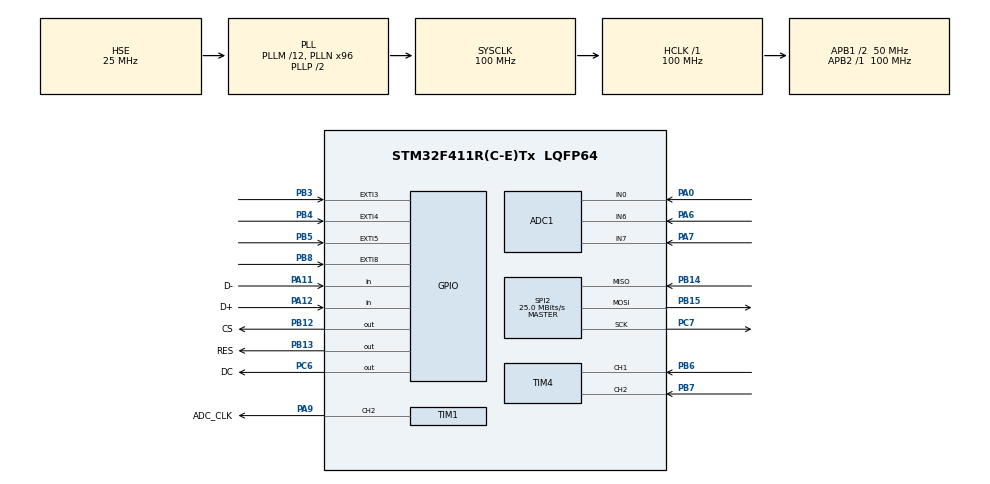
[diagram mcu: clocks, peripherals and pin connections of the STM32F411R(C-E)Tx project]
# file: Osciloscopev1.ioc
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ADC1.Channel-3\#ChannelRegularConversion=ADC_CHANNEL_6
ADC1.Channel-4\#ChannelInjectedConversion=ADC_CHANNEL_0
ADC1.DMAContinuousRequests=ENABLE
ADC1.ExternalTrigConv=ADC_EXTERNALTRIGCONV_T2_TRGO
ADC1.InjNumberOfConversion=1
ADC1.InjectedOffset-4\#ChannelInjectedConversion=0
ADC1.InjectedRank-4\#ChannelInjectedConversion=1
ADC1.NbrOfConversionFlag=1
ADC1.Rank-3\#ChannelRegularConversion=1
ADC1.SamplingTime-3\#ChannelRegularConversion=ADC_SAMPLETIME_3CYCLES
ADC1.SamplingTime-4\#ChannelInjectedConversion=ADC_SAMPLETIME_480CYCLES
ADC1.master=1
ARM.CMSIS.5.9.0.CMSISJjCORE=true
ARM.CMSIS.5.9.0.CMSISJjDSP=Source
Dma.ADC1.1.Direction=DMA_PERIPH_TO_MEMORY
Dma.ADC1.1.FIFOMode=DMA_FIFOMODE_DISABLE
Dma.ADC1.1.Instance=DMA2_Stream0
Dma.ADC1.1.MemDataAlignment=DMA_MDATAALIGN_HALFWORD
Dma.ADC1.1.MemInc=DMA_MINC_ENABLE
Dma.ADC1.1.Mode=DMA_CIRCULAR
Dma.ADC1.1.PeriphDataAlignment=DMA_PDATAALIGN_HALFWORD
Dma.ADC1.1.PeriphInc=DMA_PINC_DISABLE
Dma.ADC1.1.Priority=DMA_PRIORITY_VERY_HIGH
Dma.Request0=TIM1_CH2
Dma.Request1=ADC1
Dma.TIM1_CH2.0.Direction=DMA_PERIPH_TO_MEMORY
Dma.TIM1_CH2.0.FIFOMode=DMA_FIFOMODE_DISABLE
Dma.TIM1_CH2.0.Instance=DMA2_Stream2
Dma.TIM1_CH2.0.MemDataAlignment=DMA_MDATAALIGN_BYTE
Dma.TIM1_CH2.0.MemInc=DMA_MINC_ENABLE
Dma.TIM1_CH2.0.Mode=DMA_CIRCULAR
Dma.TIM1_CH2.0.PeriphDataAlignment=DMA_PDATAALIGN_BYTE
Dma.TIM1_CH2.0.PeriphInc=DMA_PINC_DISABLE
Dma.TIM1_CH2.0.Priority=DMA_PRIORITY_VERY_HIGH
Mcu.Family=STM32F4
Mcu.Name=STM32F411R(C-E)Tx
Mcu.Package=LQFP64
NVIC.DMA2_Stream0_IRQn=true\:0\:0\:false\:false\:true\:false\:true\:true
NVIC.DMA2_Stream2_IRQn=true\:0\:0\:false\:false\:true\:false\:true\:true
NVIC.EXTI3_IRQn=true\:0\:0\:false\:false\:true\:true\:true\:true
NVIC.EXTI4_IRQn=true\:0\:0\:false\:false\:true\:true\:true\:true
NVIC.EXTI9_5_IRQn=true\:0\:0\:false\:false\:true\:true\:true\:true
NVIC.PriorityGroup=NVIC_PRIORITYGROUP_4
NVIC.TIM1_UP_TIM10_IRQn=true\:0\:0\:false\:false\:true\:true\:true\:true
PA0-WKUP.Signal=ADCx_IN0
PA11.GPIO_Label=D-
PA11.Signal=GPIO_Input
PA12.GPIO_Label=D+
PA12.Signal=GPIO_Input
PA13.Mode=Serial_Wire
PA13.Signal=SYS_JTMS-SWDIO
PA14.Mode=Serial_Wire
PA14.Signal=SYS_JTCK-SWCLK
PA6.Signal=ADCx_IN6
PA7.Signal=ADCx_IN7
PA9.GPIO_Label=ADC_CLK
PA9.Signal=S_TIM1_CH2
PB12.GPIO_Label=CS
PB12.Signal=GPIO_Output
PB13.GPIO_Label=RES
PB13.Signal=GPIO_Output
PB14.Mode=Full_Duplex_Master
PB14.Signal=SPI2_MISO
PB15.Mode=Full_Duplex_Master
PB15.Signal=SPI2_MOSI
PB3.GPIO_ModeDefaultEXTI=GPIO_MODE_IT_FALLING
PB3.Signal=GPXTI3
PB4.GPIO_ModeDefaultEXTI=GPIO_MODE_IT_FALLING
PB4.Signal=GPXTI4
PB5.GPIO_ModeDefaultEXTI=GPIO_MODE_IT_FALLING
PB5.Signal=GPXTI5
PB6.Signal=S_TIM4_CH1
PB7.Signal=S_TIM4_CH2
PB8.GPIO_ModeDefaultEXTI=GPIO_MODE_IT_FALLING
PB8.Signal=GPXTI8
PC6.GPIO_Label=DC
PC6.Signal=GPIO_Output
PC7.Mode=Full_Duplex_Master
PC7.Signal=SPI2_SCK
PH0\ -\ OSC_IN.Mode=HSE-External-Oscillator
PH0\ -\ OSC_IN.Signal=RCC_OSC_IN
PH1\ -\ OSC_OUT.Mode=HSE-External-Oscillator
PH1\ -\ OSC_OUT.Signal=RCC_OSC_OUT
ProjectManager.HeapSize=0x200
ProjectManager.StackSize=0x400
ProjectManager.TargetToolchain=STM32CubeIDE
RCC.48MHZClocksFreq_Value=50000000
RCC.AHBFreq_Value=100000000
RCC.APB1CLKDivider=RCC_HCLK_DIV2
RCC.APB1Freq_Value=50000000
RCC.APB1TimFreq_Value=100000000
RCC.APB2Freq_Value=100000000
RCC.APB2TimFreq_Value=100000000
RCC.CortexFreq_Value=100000000
RCC.HCLKFreq_Value=100000000
RCC.HSE_VALUE=25000000
RCC.HSI_VALUE=16000000
RCC.LSE_VALUE=32768
RCC.PLLM=12
RCC.PLLN=96
RCC.PLLSourceVirtual=RCC_PLLSOURCE_HSE
RCC.SYSCLKFreq_VALUE=100000000
RCC.SYSCLKSource=RCC_SYSCLKSOURCE_PLLCLK
RCC.VCOOutputFreq_Value=200000000
SH.ADCx_IN0.0=ADC1_IN0,IN0
SH.ADCx_IN6.0=ADC1_IN6,IN6
SH.ADCx_IN7.0=ADC1_IN7,IN7
SH.S_TIM1_CH2.0=TIM1_CH2,PWM Generation2 CH2
SH.S_TIM4_CH1.0=TIM4_CH1,Encoder_Interface
SH.S_TIM4_CH2.0=TIM4_CH2,Encoder_Interface
SPI2.BaudRatePrescaler=SPI_BAUDRATEPRESCALER_2
SPI2.CalculateBaudRate=25.0 MBits/s
SPI2.Direction=SPI_DIRECTION_2LINES
SPI2.Mode=SPI_MODE_MASTER
SPI2.VirtualType=VM_MASTER
TIM1.Channel-PWM\ Generation2\ CH2=TIM_CHANNEL_2
TIM1.Period=3
TIM1.Pulse-PWM\ Generation2\ CH2=2
TIM10.Period=99
TIM10.Prescaler=9999
TIM2.Period=99
TIM2.TIM_MasterOutputTrigger=TIM_TRGO_UPDATE
VP_ARM.CMSIS_VS_CMSISJjCORE_5.6.0_5.9.0.Mode=CMSISJjCORE
VP_ARM.CMSIS_VS_CMSISJjDSP_1.10.0_5.9.0.Mode=CMSISJjDSP
VP_TIM10_VS_ClockSourceINT.Mode=Enable_Timer
VP_TIM1_VS_ClockSourceINT.Mode=Internal
VP_TIM2_VS_ClockSourceINT.Mode=Internal
board=custom

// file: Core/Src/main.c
/* USER CODE BEGIN Header */
/**
  ******************************************************************************
  * @file           : main.c
  * @brief          : Main program body
  ******************************************************************************
  * @attention
  *
  * Copyright (c) 2026 STMicroelectronics.
  * All rights reserved.
  *
  * This software is licensed under terms that can be found in the LICENSE file
  * in the root directory of this software component.
  * If no LICENSE file comes with this software, it is provided AS-IS.
  *
  ******************************************************************************
  */
/* USER CODE END Header */
#include "main.h"

/* USER CODE BEGIN Includes */

//#include "buttons.h"
//#include "display.h"
#include "menu.h"
#include "oscilloscope.h"
#include "spectrum.h"
#include "ili9341.h"
#include "battery.h"
/* USER CODE END Includes */

/* USER CODE BEGIN PTD */
extern void *display;
/* USER CODE END PTD */

ADC_HandleTypeDef hadc1;
DMA_HandleTypeDef hdma_adc1;

SPI_HandleTypeDef hspi2;

TIM_HandleTypeDef htim1;
TIM_HandleTypeDef htim2;
TIM_HandleTypeDef htim4;
TIM_HandleTypeDef htim10;
DMA_HandleTypeDef hdma_tim1_ch2;

void SystemClock_Config(void);
static void MX_GPIO_Init(void);
static void MX_DMA_Init(void);
static void MX_SPI2_Init(void);
static void MX_TIM1_Init(void);
static void MX_TIM4_Init(void);
static void MX_ADC1_Init(void);
static void MX_TIM10_Init(void);
static void MX_TIM2_Init(void);

int main(void)
{

  /* MCU Configuration--------------------------------------------------------*/

  /* Reset of all peripherals, Initializes the Flash interface and the Systick. */
  HAL_Init();

  /* Configure the system clock */
  SystemClock_Config();

  /* Initialize all configured peripherals */
  MX_GPIO_Init();
  MX_DMA_Init();
  MX_SPI2_Init();
  MX_TIM1_Init();
  MX_TIM4_Init();
  MX_ADC1_Init();
  MX_TIM10_Init();
  MX_TIM2_Init();
  /* USER CODE BEGIN 2 */
//  ScreenInit();
//  ScreenFill(0x0000);
//  ScreenDrawTestPattern();

  HAL_TIM_Base_Start(&htim2);
  OscilloscopeInit(&hadc1);

  HAL_TIM_Encoder_Start(&htim4, TIM_CHANNEL_ALL);

  //ScreenInit();
  //ScreenDrawTestPattern();

  HAL_GPIO_WritePin(ILI9341_RES_GPIO_Port, ILI9341_RES_Pin, GPIO_PIN_SET);
  HAL_Delay(50);

  HAL_GPIO_WritePin(ILI9341_RES_GPIO_Port, ILI9341_RES_Pin, GPIO_PIN_RESET);
  HAL_Delay(150);

  HAL_GPIO_WritePin(ILI9341_RES_GPIO_Port, ILI9341_RES_Pin, GPIO_PIN_SET);
  HAL_Delay(200);

  ILI9341_Unselect();

  ILI9341_Init();

  ILI9341_FillScreen(ILI9341_BLACK);
  OscilloscopeDrawGrid();

  SpectrumInit();
  /* USER CODE END 2 */

  /* Infinite loop */
  /* USER CODE BEGIN WHILE */
  while (1)
  {

	  OscilloscopeUpdateEncoder();
	  MenuUpdate();
	  CheckBatteryPeriodic();
    /* USER CODE END WHILE */

  }
}

void SystemClock_Config(void)
{
  RCC_OscInitTypeDef RCC_OscInitStruct = {0};
  RCC_ClkInitTypeDef RCC_ClkInitStruct = {0};

  /** Configure the main internal regulator output voltage
  */
  __HAL_RCC_PWR_CLK_ENABLE();
  __HAL_PWR_VOLTAGESCALING_CONFIG(PWR_REGULATOR_VOLTAGE_SCALE1);

  /** Initializes the RCC Oscillators according to the specified parameters
  * in the RCC_OscInitTypeDef structure.
  */
  RCC_OscInitStruct.OscillatorType = RCC_OSCILLATORTYPE_HSE;
  RCC_OscInitStruct.HSEState = RCC_HSE_ON;
  RCC_OscInitStruct.PLL.PLLState = RCC_PLL_ON;
  RCC_OscInitStruct.PLL.PLLSource = RCC_PLLSOURCE_HSE;
  RCC_OscInitStruct.PLL.PLLM = 12;
  RCC_OscInitStruct.PLL.PLLN = 96;
  RCC_OscInitStruct.PLL.PLLP = RCC_PLLP_DIV2;
  RCC_OscInitStruct.PLL.PLLQ = 4;
  if (HAL_RCC_OscConfig(&RCC_OscInitStruct) != HAL_OK)
  {
    Error_Handler();
  }

  /** Initializes the CPU, AHB and APB buses clocks
  */
  RCC_ClkInitStruct.ClockType = RCC_CLOCKTYPE_HCLK|RCC_CLOCKTYPE_SYSCLK
                              |RCC_CLOCKTYPE_PCLK1|RCC_CLOCKTYPE_PCLK2;
  RCC_ClkInitStruct.SYSCLKSource = RCC_SYSCLKSOURCE_PLLCLK;
  RCC_ClkInitStruct.AHBCLKDivider = RCC_SYSCLK_DIV1;
  RCC_ClkInitStruct.APB1CLKDivider = RCC_HCLK_DIV2;
  RCC_ClkInitStruct.APB2CLKDivider = RCC_HCLK_DIV1;

  if (HAL_RCC_ClockConfig(&RCC_ClkInitStruct, FLASH_LATENCY_3) != HAL_OK)
  {
    Error_Handler();
  }
}

static void MX_ADC1_Init(void)
{

  ADC_ChannelConfTypeDef sConfig = {0};
  ADC_InjectionConfTypeDef sConfigInjected = {0};

  /** Configure the global features of the ADC (Clock, Resolution, Data Alignment and number of conversion)
  */
  hadc1.Instance = ADC1;
  hadc1.Init.ClockPrescaler = ADC_CLOCK_SYNC_PCLK_DIV4;
  hadc1.Init.Resolution = ADC_RESOLUTION_12B;
  hadc1.Init.ScanConvMode = DISABLE;
  hadc1.Init.ContinuousConvMode = DISABLE;
  hadc1.Init.DiscontinuousConvMode = DISABLE;
  hadc1.Init.ExternalTrigConvEdge = ADC_EXTERNALTRIGCONVEDGE_RISING;
  hadc1.Init.ExternalTrigConv = ADC_EXTERNALTRIGCONV_T2_TRGO;
  hadc1.Init.DataAlign = ADC_DATAALIGN_RIGHT;
  hadc1.Init.NbrOfConversion = 1;
  hadc1.Init.DMAContinuousRequests = ENABLE;
  hadc1.Init.EOCSelection = ADC_EOC_SINGLE_CONV;
  if (HAL_ADC_Init(&hadc1) != HAL_OK)
  {
    Error_Handler();
  }

  /** Configure for the selected ADC regular channel its corresponding rank in the sequencer and its sample time.
  */
  sConfig.Channel = ADC_CHANNEL_6;
  sConfig.Rank = 1;
  sConfig.SamplingTime = ADC_SAMPLETIME_3CYCLES;
  if (HAL_ADC_ConfigChannel(&hadc1, &sConfig) != HAL_OK)
  {
    Error_Handler();
  }

  /** Configures for the selected ADC injected channel its corresponding rank in the sequencer and its sample time
  */
  sConfigInjected.InjectedChannel = ADC_CHANNEL_0;
  sConfigInjected.InjectedRank = 1;
  sConfigInjected.InjectedNbrOfConversion = 1;
  sConfigInjected.InjectedSamplingTime = ADC_SAMPLETIME_480CYCLES;
  sConfigInjected.ExternalTrigInjecConvEdge = ADC_EXTERNALTRIGINJECCONVEDGE_NONE;
  sConfigInjected.ExternalTrigInjecConv = ADC_INJECTED_SOFTWARE_START;
  sConfigInjected.AutoInjectedConv = DISABLE;
  sConfigInjected.InjectedDiscontinuousConvMode = DISABLE;
  sConfigInjected.InjectedOffset = 0;
  if (HAL_ADCEx_InjectedConfigChannel(&hadc1, &sConfigInjected) != HAL_OK)
  {
    Error_Handler();
  }

}

static void MX_SPI2_Init(void)
{

  /* SPI2 parameter configuration*/
  hspi2.Instance = SPI2;
  hspi2.Init.Mode = SPI_MODE_MASTER;
  hspi2.Init.Direction = SPI_DIRECTION_2LINES;
  hspi2.Init.DataSize = SPI_DATASIZE_8BIT;
  hspi2.Init.CLKPolarity = SPI_POLARITY_LOW;
  hspi2.Init.CLKPhase = SPI_PHASE_1EDGE;
  hspi2.Init.NSS = SPI_NSS_SOFT;
  hspi2.Init.BaudRatePrescaler = SPI_BAUDRATEPRESCALER_2;
  hspi2.Init.FirstBit = SPI_FIRSTBIT_MSB;
  hspi2.Init.TIMode = SPI_TIMODE_DISABLE;
  hspi2.Init.CRCCalculation = SPI_CRCCALCULATION_DISABLE;
  hspi2.Init.CRCPolynomial = 10;
  if (HAL_SPI_Init(&hspi2) != HAL_OK)
  {
    Error_Handler();
  }

}

static void MX_TIM1_Init(void)
{

  TIM_ClockConfigTypeDef sClockSourceConfig = {0};
  TIM_MasterConfigTypeDef sMasterConfig = {0};
  TIM_OC_InitTypeDef sConfigOC = {0};
  TIM_BreakDeadTimeConfigTypeDef sBreakDeadTimeConfig = {0};

  htim1.Instance = TIM1;
  htim1.Init.Prescaler = 0;
  htim1.Init.CounterMode = TIM_COUNTERMODE_UP;
  htim1.Init.Period = 3;
  htim1.Init.ClockDivision = TIM_CLOCKDIVISION_DIV1;
  htim1.Init.RepetitionCounter = 0;
  htim1.Init.AutoReloadPreload = TIM_AUTORELOAD_PRELOAD_DISABLE;
  if (HAL_TIM_Base_Init(&htim1) != HAL_OK)
  {
    Error_Handler();
  }
  sClockSourceConfig.ClockSource = TIM_CLOCKSOURCE_INTERNAL;
  if (HAL_TIM_ConfigClockSource(&htim1, &sClockSourceConfig) != HAL_OK)
  {
    Error_Handler();
  }
  if (HAL_TIM_PWM_Init(&htim1) != HAL_OK)
  {
    Error_Handler();
  }
  sMasterConfig.MasterOutputTrigger = TIM_TRGO_RESET;
  sMasterConfig.MasterSlaveMode = TIM_MASTERSLAVEMODE_DISABLE;
  if (HAL_TIMEx_MasterConfigSynchronization(&htim1, &sMasterConfig) != HAL_OK)
  {
    Error_Handler();
  }
  sConfigOC.OCMode = TIM_OCMODE_PWM1;
  sConfigOC.Pulse = 2;
  sConfigOC.OCPolarity = TIM_OCPOLARITY_HIGH;
  sConfigOC.OCNPolarity = TIM_OCNPOLARITY_HIGH;
  sConfigOC.OCFastMode = TIM_OCFAST_DISABLE;
  sConfigOC.OCIdleState = TIM_OCIDLESTATE_RESET;
  sConfigOC.OCNIdleState = TIM_OCNIDLESTATE_RESET;
  if (HAL_TIM_PWM_ConfigChannel(&htim1, &sConfigOC, TIM_CHANNEL_2) != HAL_OK)
  {
    Error_Handler();
  }
  sBreakDeadTimeConfig.OffStateRunMode = TIM_OSSR_DISABLE;
  sBreakDeadTimeConfig.OffStateIDLEMode = TIM_OSSI_DISABLE;
  sBreakDeadTimeConfig.LockLevel = TIM_LOCKLEVEL_OFF;
  sBreakDeadTimeConfig.DeadTime = 0;
  sBreakDeadTimeConfig.BreakState = TIM_BREAK_DISABLE;
  sBreakDeadTimeConfig.BreakPolarity = TIM_BREAKPOLARITY_HIGH;
  sBreakDeadTimeConfig.AutomaticOutput = TIM_AUTOMATICOUTPUT_DISABLE;
  if (HAL_TIMEx_ConfigBreakDeadTime(&htim1, &sBreakDeadTimeConfig) != HAL_OK)
  {
    Error_Handler();
  }
  HAL_TIM_MspPostInit(&htim1);

}

static void MX_TIM2_Init(void)
{

  TIM_ClockConfigTypeDef sClockSourceConfig = {0};
  TIM_MasterConfigTypeDef sMasterConfig = {0};

  htim2.Instance = TIM2;
  htim2.Init.Prescaler = 0;
  htim2.Init.CounterMode = TIM_COUNTERMODE_UP;
  htim2.Init.Period = 99;
  htim2.Init.ClockDivision = TIM_CLOCKDIVISION_DIV1;
  htim2.Init.AutoReloadPreload = TIM_AUTORELOAD_PRELOAD_DISABLE;
  if (HAL_TIM_Base_Init(&htim2) != HAL_OK)
  {
    Error_Handler();
  }
  sClockSourceConfig.ClockSource = TIM_CLOCKSOURCE_INTERNAL;
  if (HAL_TIM_ConfigClockSource(&htim2, &sClockSourceConfig) != HAL_OK)
  {
    Error_Handler();
  }
  sMasterConfig.MasterOutputTrigger = TIM_TRGO_UPDATE;
  sMasterConfig.MasterSlaveMode = TIM_MASTERSLAVEMODE_DISABLE;
  if (HAL_TIMEx_MasterConfigSynchronization(&htim2, &sMasterConfig) != HAL_OK)
  {
    Error_Handler();
  }

}

static void MX_TIM4_Init(void)
{

  TIM_Encoder_InitTypeDef sConfig = {0};
  TIM_MasterConfigTypeDef sMasterConfig = {0};

  htim4.Instance = TIM4;
  htim4.Init.Prescaler = 0;
  htim4.Init.CounterMode = TIM_COUNTERMODE_UP;
  htim4.Init.Period = 65535;
  htim4.Init.ClockDivision = TIM_CLOCKDIVISION_DIV1;
  htim4.Init.AutoReloadPreload = TIM_AUTORELOAD_PRELOAD_DISABLE;
  sConfig.EncoderMode = TIM_ENCODERMODE_TI1;
  sConfig.IC1Polarity = TIM_ICPOLARITY_RISING;
  sConfig.IC1Selection = TIM_ICSELECTION_DIRECTTI;
  sConfig.IC1Prescaler = TIM_ICPSC_DIV1;
  sConfig.IC1Filter = 0;
  sConfig.IC2Polarity = TIM_ICPOLARITY_RISING;
  sConfig.IC2Selection = TIM_ICSELECTION_DIRECTTI;
  sConfig.IC2Prescaler = TIM_ICPSC_DIV1;
  sConfig.IC2Filter = 0;
  if (HAL_TIM_Encoder_Init(&htim4, &sConfig) != HAL_OK)
  {
    Error_Handler();
  }
  sMasterConfig.MasterOutputTrigger = TIM_TRGO_RESET;
  sMasterConfig.MasterSlaveMode = TIM_MASTERSLAVEMODE_DISABLE;
  if (HAL_TIMEx_MasterConfigSynchronization(&htim4, &sMasterConfig) != HAL_OK)
  {
    Error_Handler();
  }

}

static void MX_TIM10_Init(void)
{

  htim10.Instance = TIM10;
  htim10.Init.Prescaler = 9999;
  htim10.Init.CounterMode = TIM_COUNTERMODE_UP;
  htim10.Init.Period = 99;
  htim10.Init.ClockDivision = TIM_CLOCKDIVISION_DIV1;
  htim10.Init.AutoReloadPreload = TIM_AUTORELOAD_PRELOAD_DISABLE;
  if (HAL_TIM_Base_Init(&htim10) != HAL_OK)
  {
    Error_Handler();
  }

}

static void MX_DMA_Init(void)
{

  /* DMA controller clock enable */
  __HAL_RCC_DMA2_CLK_ENABLE();

  /* DMA interrupt init */
  /* DMA2_Stream0_IRQn interrupt configuration */
  HAL_NVIC_SetPriority(DMA2_Stream0_IRQn, 0, 0);
  HAL_NVIC_EnableIRQ(DMA2_Stream0_IRQn);
  /* DMA2_Stream2_IRQn interrupt configuration */
  HAL_NVIC_SetPriority(DMA2_Stream2_IRQn, 0, 0);
  HAL_NVIC_EnableIRQ(DMA2_Stream2_IRQn);

}

static void MX_GPIO_Init(void)
{
  GPIO_InitTypeDef GPIO_InitStruct = {0};

  /* GPIO Ports Clock Enable */
  __HAL_RCC_GPIOH_CLK_ENABLE();
  __HAL_RCC_GPIOA_CLK_ENABLE();
  __HAL_RCC_GPIOB_CLK_ENABLE();
  __HAL_RCC_GPIOC_CLK_ENABLE();

  /*Configure GPIO pin Output Level */
  HAL_GPIO_WritePin(GPIOB, CS_Pin|RES_Pin, GPIO_PIN_RESET);

  /*Configure GPIO pin Output Level */
  HAL_GPIO_WritePin(DC_GPIO_Port, DC_Pin, GPIO_PIN_RESET);

  /*Configure GPIO pins : CS_Pin RES_Pin */
  GPIO_InitStruct.Pin = CS_Pin|RES_Pin;
  GPIO_InitStruct.Mode = GPIO_MODE_OUTPUT_PP;
  GPIO_InitStruct.Pull = GPIO_NOPULL;
  GPIO_InitStruct.Speed = GPIO_SPEED_FREQ_LOW;
  HAL_GPIO_Init(GPIOB, &GPIO_InitStruct);

  /*Configure GPIO pin : DC_Pin */
  GPIO_InitStruct.Pin = DC_Pin;
  GPIO_InitStruct.Mode = GPIO_MODE_OUTPUT_PP;
  GPIO_InitStruct.Pull = GPIO_NOPULL;
  GPIO_InitStruct.Speed = GPIO_SPEED_FREQ_LOW;
  HAL_GPIO_Init(DC_GPIO_Port, &GPIO_InitStruct);

  /*Configure GPIO pins : D__Pin D_A12_Pin */
  GPIO_InitStruct.Pin = D__Pin|D_A12_Pin;
  GPIO_InitStruct.Mode = GPIO_MODE_INPUT;
  GPIO_InitStruct.Pull = GPIO_NOPULL;
  HAL_GPIO_Init(GPIOA, &GPIO_InitStruct);

  /*Configure GPIO pins : PB3 PB4 PB5 PB8 */
  GPIO_InitStruct.Pin = GPIO_PIN_3|GPIO_PIN_4|GPIO_PIN_5|GPIO_PIN_8;
  GPIO_InitStruct.Mode = GPIO_MODE_IT_FALLING;
  GPIO_InitStruct.Pull = GPIO_NOPULL;
  HAL_GPIO_Init(GPIOB, &GPIO_InitStruct);

  /* EXTI interrupt init*/
  HAL_NVIC_SetPriority(EXTI3_IRQn, 0, 0);
  HAL_NVIC_EnableIRQ(EXTI3_IRQn);

  HAL_NVIC_SetPriority(EXTI4_IRQn, 0, 0);
  HAL_NVIC_EnableIRQ(EXTI4_IRQn);

  HAL_NVIC_SetPriority(EXTI9_5_IRQn, 0, 0);
  HAL_NVIC_EnableIRQ(EXTI9_5_IRQn);

}

void Error_Handler(void)
{
  __disable_irq();
  while (1)
  {
  }
}
